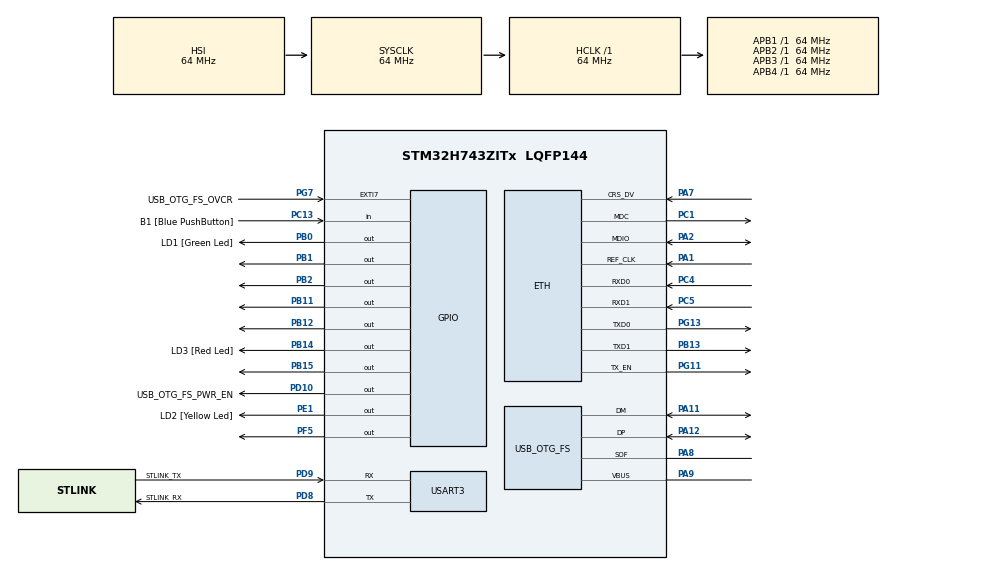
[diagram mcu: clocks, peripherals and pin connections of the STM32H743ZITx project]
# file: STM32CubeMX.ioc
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Mcu.Family=STM32H7
NVIC.USART3_IRQn=true\:0\:0\:false\:false\:true\:true\:true
Dma.USART3_RX.0.Polarity=HAL_DMAMUX_REQ_GEN_RISING
Dma.USART3_RX.0.PeriphInc=DMA_PINC_DISABLE
RCC.CortexFreq_Value=64000000
PH0-OSC_IN\ (PH0).Signal=RCC_OSC_IN
PB14.GPIO_Label=LD3 [Red Led]
PC15-OSC32_OUT\ (OSC32_OUT).Mode=LSE-External-Oscillator
RCC.PLLFRACN=0
PA11.Mode=Device_Only
PB0.GPIO_Label=LD1 [Green Led]
PC5.Mode=RMII
PC13.GPIO_Label=B1 [Blue PushButton]
PB11.Signal=GPIO_Output
PB13.Signal=ETH_TXD1
PB15.Signal=GPIO_Output
PG13.Signal=ETH_TXD0
PD9.Mode=Asynchronous
PG11.Signal=ETH_TX_EN
ProjectManager.StackSize=0x400
USART3.VirtualMode-Asynchronous=VM_ASYNC
PA12.Signal=USB_OTG_FS_DP
RCC.HCLKFreq_Value=64000000
PD8.Signal=USART3_TX
PE1.Signal=GPIO_Output
RCC.HSE_VALUE=8000000
Dma.USART3_RX.0.MemDataAlignment=DMA_MDATAALIGN_BYTE
PB2.Signal=GPIO_Output
RCC.DIVM1=1
Dma.USART3_RX.0.SyncSignalID=NONE
Dma.USART3_RX.0.PeriphDataAlignment=DMA_PDATAALIGN_BYTE
Dma.USART3_RX.0.FIFOMode=DMA_FIFOMODE_DISABLE
PA8.Signal=USB_OTG_FS_SOF
PG13.Mode=RMII
RCC.APB3Freq_Value=64000000
Dma.USART3_RX.0.Direction=DMA_PERIPH_TO_MEMORY
Mcu.Package=LQFP144
PB1.Signal=GPIO_Output
USB_OTG_FS.VirtualMode=Device_Only
Dma.USART3_RX.0.SyncPolarity=HAL_DMAMUX_SYNC_NO_EVENT
Dma.USART3_RX.0.MemInc=DMA_MINC_ENABLE
PF5.Signal=GPIO_Output
PC14-OSC32_IN\ (OSC32_IN).Mode=LSE-External-Oscillator
RCC.APB4Freq_Value=64000000
NVIC.DMA1_Stream0_IRQn=true\:0\:0\:false\:false\:true\:false\:true
PC5.Signal=ETH_RXD1
PB13.Mode=RMII
Dma.Request0=USART3_RX
PH0-OSC_IN\ (PH0).Mode=HSE-External-Clock-Source
PC4.Mode=RMII
Dma.USART3_RX.0.Instance=DMA1_Stream0
RCC.DIVQ1=4
PA7.Mode=RMII
PG7.Signal=GPXTI7
PD9.GPIO_Label=STLINK_TX
Dma.USART3_RX.0.SyncRequestNumber=1
PC13.Signal=GPIO_Input
PC4.Signal=ETH_RXD0
PD9.Signal=USART3_RX
PH1-OSC_OUT\ (PH1).Signal=RCC_OSC_OUT
Dma.USART3_RX.0.Mode=DMA_CIRCULAR
PD8.GPIO_Label=STLINK_RX
PD10.Signal=GPIO_Output
PA9.Mode=Activate_VBUS
ProjectManager.TargetToolchain=SW4STM32
PC15-OSC32_OUT\ (OSC32_OUT).Signal=RCC_OSC32_OUT
PA9.Signal=USB_OTG_FS_VBUS
Dma.USART3_RX.0.EventEnable=DISABLE
RCC.DIVN1=24
Dma.USART3_RX.0.SyncEnable=DISABLE
RCC.USBFreq_Value=48000000
PD10.GPIO_Label=USB_OTG_FS_PWR_EN
PD8.Mode=Asynchronous
PA1.Signal=ETH_REF_CLK
PB14.Signal=GPIO_Output
board=NUCLEO-H743ZI2
PE1.GPIO_Label=LD2 [Yellow Led]
RCC.APB2Freq_Value=64000000
PA1.Mode=RMII
PG7.GPIO_Label=USB_OTG_FS_OVCR
RCC.ADCFreq_Value=16125000
Mcu.Name=STM32H743ZITx
PA2.Signal=ETH_MDIO
Dma.USART3_RX.0.RequestNumber=1
RCC.SYSCLKFreq_VALUE=64000000
Dma.USART3_RX.0.Priority=DMA_PRIORITY_HIGH
ETH.MediaInterface=HAL_ETH_RMII_MODE
PA12.Mode=Device_Only
PC14-OSC32_IN\ (OSC32_IN).Signal=RCC_OSC32_IN
PG11.Mode=RMII
PA11.Signal=USB_OTG_FS_DM
ProjectManager.HeapSize=0x200
Dma.USART3_RX.0.SignalID=NONE
NVIC.PriorityGroup=NVIC_PRIORITYGROUP_4
PA2.Mode=RMII
PA8.Mode=Activate_SOF_FS
RCC.APB1Freq_Value=64000000
PB0.Signal=GPIO_Output
PC1.Signal=ETH_MDC
PB12.Signal=GPIO_Output
PC1.Mode=RMII
PA7.Signal=ETH_CRS_DV

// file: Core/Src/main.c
/* USER CODE BEGIN Header */
/**
  ******************************************************************************
  * @file           : main.c
  * @brief          : Main program body
  ******************************************************************************
  * @attention
  *
  * <h2><center>&copy; Copyright (c) 2020 STMicroelectronics.
  * All rights reserved.</center></h2>
  *
  * This software component is licensed by ST under BSD 3-Clause license,
  * the "License"; You may not use this file except in compliance with the
  * License. You may obtain a copy of the License at:
  *                        opensource.org/licenses/BSD-3-Clause
  *
  ******************************************************************************
  */
/* USER CODE END Header */
#include "main.h"
#include "string.h"

/* USER CODE BEGIN Includes */
#include "feedforward.h"
#include "service.h"
#include "test.h"
#include "stdbool.h"
#include "otsu.h"
/* USER CODE END Includes */

#if defined ( __ICCARM__ ) /*!< IAR Compiler */

#pragma location=0x30040000
ETH_DMADescTypeDef  DMARxDscrTab[ETH_RX_DESC_CNT]; /* Ethernet Rx DMA Descriptors */
#pragma location=0x30040060
ETH_DMADescTypeDef  DMATxDscrTab[ETH_TX_DESC_CNT]; /* Ethernet Tx DMA Descriptors */
#pragma location=0x30040200
uint8_t Rx_Buff[ETH_RX_DESC_CNT][ETH_MAX_PACKET_SIZE]; /* Ethernet Receive Buffers */

#elif defined ( __CC_ARM )  /* MDK ARM Compiler */

__attribute__((at(0x30040000))) ETH_DMADescTypeDef  DMARxDscrTab[ETH_RX_DESC_CNT]; /* Ethernet Rx DMA Descriptors */
__attribute__((at(0x30040060))) ETH_DMADescTypeDef  DMATxDscrTab[ETH_TX_DESC_CNT]; /* Ethernet Tx DMA Descriptors */
__attribute__((at(0x30040200))) uint8_t Rx_Buff[ETH_RX_DESC_CNT][ETH_MAX_PACKET_SIZE]; /* Ethernet Receive Buffer */

#elif defined ( __GNUC__ ) /* GNU Compiler */

ETH_DMADescTypeDef DMARxDscrTab[ETH_RX_DESC_CNT] __attribute__((section(".RxDecripSection"))); /* Ethernet Rx DMA Descriptors */
ETH_DMADescTypeDef DMATxDscrTab[ETH_TX_DESC_CNT] __attribute__((section(".TxDecripSection")));   /* Ethernet Tx DMA Descriptors */
uint8_t Rx_Buff[ETH_RX_DESC_CNT][ETH_MAX_PACKET_SIZE] __attribute__((section(".RxArraySection"))); /* Ethernet Receive Buffers */

#endif

ETH_TxPacketConfig TxConfig;

ETH_HandleTypeDef heth;

UART_HandleTypeDef huart3;
DMA_HandleTypeDef hdma_usart3_rx;

PCD_HandleTypeDef hpcd_USB_OTG_FS;

/* USER CODE BEGIN PV */
#define IMAGE_SIZE 784
uint8_t Received[3];
double image[IMAGE_SIZE];
volatile bool done = false;
volatile bool is_otsu;
/* USER CODE END PV */

void SystemClock_Config(void);
static void MX_GPIO_Init(void);
static void MX_DMA_Init(void);
static void MX_ETH_Init(void);
static void MX_USART3_UART_Init(void);
static void MX_USB_OTG_FS_PCD_Init(void);

int main(void)
{

  /* MCU Configuration--------------------------------------------------------*/

  /* Reset of all peripherals, Initializes the Flash interface and the Systick. */
  HAL_Init();

  /* Configure the system clock */
  SystemClock_Config();

  /* Initialize all configured peripherals */
  MX_GPIO_Init();
  MX_DMA_Init();
  MX_ETH_Init();
  MX_USART3_UART_Init();
  MX_USB_OTG_FS_PCD_Init();
  /* USER CODE BEGIN 2 */
  test();
  	double y[10] = {0};
  	double z[10] = {0};
    // DMA does not work!!!!
  //  https://community.st.com/s/article/FAQ-DMA-is-not-working-on-STM32H7-devices
    HAL_UART_Receive_IT(&huart3, Received, 3);
  /* USER CODE END 2 */

  /* Infinite loop */
  /* USER CODE BEGIN WHILE */
  while (1)
  {
	  if(done) {
		  if(is_otsu) {
			  otsu(image, IMAGE_SIZE);
		  }

		  for(int i = 0; i < IMAGE_SIZE; i++) {
			  image[i] = image[i] / 255.0;
		  }

		  think(image, y, z);

		  display_digit(max_idx(y));

		  done = false;
	  }

    /* USER CODE END WHILE */

  }
}

void SystemClock_Config(void)
{
  RCC_OscInitTypeDef RCC_OscInitStruct = {0};
  RCC_ClkInitTypeDef RCC_ClkInitStruct = {0};
  RCC_PeriphCLKInitTypeDef PeriphClkInitStruct = {0};

  /** Supply configuration update enable
  */
  HAL_PWREx_ConfigSupply(PWR_LDO_SUPPLY);
  /** Configure the main internal regulator output voltage
  */
  __HAL_PWR_VOLTAGESCALING_CONFIG(PWR_REGULATOR_VOLTAGE_SCALE3);

  while(!__HAL_PWR_GET_FLAG(PWR_FLAG_VOSRDY)) {}
  /** Initializes the RCC Oscillators according to the specified parameters
  * in the RCC_OscInitTypeDef structure.
  */
  RCC_OscInitStruct.OscillatorType = RCC_OSCILLATORTYPE_HSI|RCC_OSCILLATORTYPE_HSE;
  RCC_OscInitStruct.HSEState = RCC_HSE_BYPASS;
  RCC_OscInitStruct.HSIState = RCC_HSI_DIV1;
  RCC_OscInitStruct.HSICalibrationValue = RCC_HSICALIBRATION_DEFAULT;
  RCC_OscInitStruct.PLL.PLLState = RCC_PLL_ON;
  RCC_OscInitStruct.PLL.PLLSource = RCC_PLLSOURCE_HSE;
  RCC_OscInitStruct.PLL.PLLM = 1;
  RCC_OscInitStruct.PLL.PLLN = 24;
  RCC_OscInitStruct.PLL.PLLP = 2;
  RCC_OscInitStruct.PLL.PLLQ = 4;
  RCC_OscInitStruct.PLL.PLLR = 2;
  RCC_OscInitStruct.PLL.PLLRGE = RCC_PLL1VCIRANGE_3;
  RCC_OscInitStruct.PLL.PLLVCOSEL = RCC_PLL1VCOWIDE;
  RCC_OscInitStruct.PLL.PLLFRACN = 0;
  if (HAL_RCC_OscConfig(&RCC_OscInitStruct) != HAL_OK)
  {
    Error_Handler();
  }
  /** Initializes the CPU, AHB and APB buses clocks
  */
  RCC_ClkInitStruct.ClockType = RCC_CLOCKTYPE_HCLK|RCC_CLOCKTYPE_SYSCLK
                              |RCC_CLOCKTYPE_PCLK1|RCC_CLOCKTYPE_PCLK2
                              |RCC_CLOCKTYPE_D3PCLK1|RCC_CLOCKTYPE_D1PCLK1;
  RCC_ClkInitStruct.SYSCLKSource = RCC_SYSCLKSOURCE_HSI;
  RCC_ClkInitStruct.SYSCLKDivider = RCC_SYSCLK_DIV1;
  RCC_ClkInitStruct.AHBCLKDivider = RCC_HCLK_DIV1;
  RCC_ClkInitStruct.APB3CLKDivider = RCC_APB3_DIV1;
  RCC_ClkInitStruct.APB1CLKDivider = RCC_APB1_DIV1;
  RCC_ClkInitStruct.APB2CLKDivider = RCC_APB2_DIV1;
  RCC_ClkInitStruct.APB4CLKDivider = RCC_APB4_DIV1;

  if (HAL_RCC_ClockConfig(&RCC_ClkInitStruct, FLASH_LATENCY_0) != HAL_OK)
  {
    Error_Handler();
  }
  PeriphClkInitStruct.PeriphClockSelection = RCC_PERIPHCLK_USART3|RCC_PERIPHCLK_USB;
  PeriphClkInitStruct.Usart234578ClockSelection = RCC_USART234578CLKSOURCE_D2PCLK1;
  PeriphClkInitStruct.UsbClockSelection = RCC_USBCLKSOURCE_PLL;
  if (HAL_RCCEx_PeriphCLKConfig(&PeriphClkInitStruct) != HAL_OK)
  {
    Error_Handler();
  }
  /** Enable USB Voltage detector
  */
  HAL_PWREx_EnableUSBVoltageDetector();
}

static void MX_ETH_Init(void)
{

  heth.Instance = ETH;
  heth.Init.MACAddr[0] =   0x00;
  heth.Init.MACAddr[1] =   0x80;
  heth.Init.MACAddr[2] =   0xE1;
  heth.Init.MACAddr[3] =   0x00;
  heth.Init.MACAddr[4] =   0x00;
  heth.Init.MACAddr[5] =   0x00;
  heth.Init.MediaInterface = HAL_ETH_RMII_MODE;
  heth.Init.TxDesc = DMATxDscrTab;
  heth.Init.RxDesc = DMARxDscrTab;
  heth.Init.RxBuffLen = 1524;

  if (HAL_ETH_Init(&heth) != HAL_OK)
  {
    Error_Handler();
  }

  memset(&TxConfig, 0 , sizeof(ETH_TxPacketConfig));
  TxConfig.Attributes = ETH_TX_PACKETS_FEATURES_CSUM | ETH_TX_PACKETS_FEATURES_CRCPAD;
  TxConfig.ChecksumCtrl = ETH_CHECKSUM_IPHDR_PAYLOAD_INSERT_PHDR_CALC;
  TxConfig.CRCPadCtrl = ETH_CRC_PAD_INSERT;

}

static void MX_USART3_UART_Init(void)
{

  huart3.Instance = USART3;
  huart3.Init.BaudRate = 115200;
  huart3.Init.WordLength = UART_WORDLENGTH_8B;
  huart3.Init.StopBits = UART_STOPBITS_1;
  huart3.Init.Parity = UART_PARITY_NONE;
  huart3.Init.Mode = UART_MODE_TX_RX;
  huart3.Init.HwFlowCtl = UART_HWCONTROL_NONE;
  huart3.Init.OverSampling = UART_OVERSAMPLING_16;
  huart3.Init.OneBitSampling = UART_ONE_BIT_SAMPLE_DISABLE;
  huart3.Init.ClockPrescaler = UART_PRESCALER_DIV1;
  huart3.AdvancedInit.AdvFeatureInit = UART_ADVFEATURE_NO_INIT;
  if (HAL_UART_Init(&huart3) != HAL_OK)
  {
    Error_Handler();
  }
  if (HAL_UARTEx_SetTxFifoThreshold(&huart3, UART_TXFIFO_THRESHOLD_1_8) != HAL_OK)
  {
    Error_Handler();
  }
  if (HAL_UARTEx_SetRxFifoThreshold(&huart3, UART_RXFIFO_THRESHOLD_1_8) != HAL_OK)
  {
    Error_Handler();
  }
  if (HAL_UARTEx_DisableFifoMode(&huart3) != HAL_OK)
  {
    Error_Handler();
  }

}

static void MX_USB_OTG_FS_PCD_Init(void)
{

  hpcd_USB_OTG_FS.Instance = USB_OTG_FS;
  hpcd_USB_OTG_FS.Init.dev_endpoints = 9;
  hpcd_USB_OTG_FS.Init.speed = PCD_SPEED_FULL;
  hpcd_USB_OTG_FS.Init.dma_enable = DISABLE;
  hpcd_USB_OTG_FS.Init.phy_itface = PCD_PHY_EMBEDDED;
  hpcd_USB_OTG_FS.Init.Sof_enable = ENABLE;
  hpcd_USB_OTG_FS.Init.low_power_enable = DISABLE;
  hpcd_USB_OTG_FS.Init.lpm_enable = DISABLE;
  hpcd_USB_OTG_FS.Init.battery_charging_enable = ENABLE;
  hpcd_USB_OTG_FS.Init.vbus_sensing_enable = ENABLE;
  hpcd_USB_OTG_FS.Init.use_dedicated_ep1 = DISABLE;
  if (HAL_PCD_Init(&hpcd_USB_OTG_FS) != HAL_OK)
  {
    Error_Handler();
  }

}

static void MX_DMA_Init(void)
{

  /* DMA controller clock enable */
  __HAL_RCC_DMA1_CLK_ENABLE();

  /* DMA interrupt init */
  /* DMA1_Stream0_IRQn interrupt configuration */
  HAL_NVIC_SetPriority(DMA1_Stream0_IRQn, 0, 0);
  HAL_NVIC_EnableIRQ(DMA1_Stream0_IRQn);

}

static void MX_GPIO_Init(void)
{
  GPIO_InitTypeDef GPIO_InitStruct = {0};

  /* GPIO Ports Clock Enable */
  __HAL_RCC_GPIOC_CLK_ENABLE();
  __HAL_RCC_GPIOF_CLK_ENABLE();
  __HAL_RCC_GPIOH_CLK_ENABLE();
  __HAL_RCC_GPIOA_CLK_ENABLE();
  __HAL_RCC_GPIOB_CLK_ENABLE();
  __HAL_RCC_GPIOD_CLK_ENABLE();
  __HAL_RCC_GPIOG_CLK_ENABLE();
  __HAL_RCC_GPIOE_CLK_ENABLE();

  /*Configure GPIO pin Output Level */
  HAL_GPIO_WritePin(GPIOF, GPIO_PIN_5, GPIO_PIN_RESET);

  /*Configure GPIO pin Output Level */
  HAL_GPIO_WritePin(GPIOB, LD1_Pin|GPIO_PIN_1|GPIO_PIN_2|GPIO_PIN_11
                          |GPIO_PIN_12|LD3_Pin|GPIO_PIN_15, GPIO_PIN_RESET);

  /*Configure GPIO pin Output Level */
  HAL_GPIO_WritePin(USB_OTG_FS_PWR_EN_GPIO_Port, USB_OTG_FS_PWR_EN_Pin, GPIO_PIN_RESET);

  /*Configure GPIO pin Output Level */
  HAL_GPIO_WritePin(LD2_GPIO_Port, LD2_Pin, GPIO_PIN_RESET);

  /*Configure GPIO pin : PC13 */
  GPIO_InitStruct.Pin = GPIO_PIN_13;
  GPIO_InitStruct.Mode = GPIO_MODE_IT_RISING;
  GPIO_InitStruct.Pull = GPIO_NOPULL;
  HAL_GPIO_Init(GPIOC, &GPIO_InitStruct);

  /*Configure GPIO pin : PF5 */
  GPIO_InitStruct.Pin = GPIO_PIN_5;
  GPIO_InitStruct.Mode = GPIO_MODE_OUTPUT_PP;
  GPIO_InitStruct.Pull = GPIO_NOPULL;
  GPIO_InitStruct.Speed = GPIO_SPEED_FREQ_LOW;
  HAL_GPIO_Init(GPIOF, &GPIO_InitStruct);

  /*Configure GPIO pins : LD1_Pin PB1 PB2 PB11
                           PB12 LD3_Pin PB15 */
  GPIO_InitStruct.Pin = LD1_Pin|GPIO_PIN_1|GPIO_PIN_2|GPIO_PIN_11
                          |GPIO_PIN_12|LD3_Pin|GPIO_PIN_15;
  GPIO_InitStruct.Mode = GPIO_MODE_OUTPUT_PP;
  GPIO_InitStruct.Pull = GPIO_NOPULL;
  GPIO_InitStruct.Speed = GPIO_SPEED_FREQ_LOW;
  HAL_GPIO_Init(GPIOB, &GPIO_InitStruct);

  /*Configure GPIO pin : USB_OTG_FS_PWR_EN_Pin */
  GPIO_InitStruct.Pin = USB_OTG_FS_PWR_EN_Pin;
  GPIO_InitStruct.Mode = GPIO_MODE_OUTPUT_PP;
  GPIO_InitStruct.Pull = GPIO_NOPULL;
  GPIO_InitStruct.Speed = GPIO_SPEED_FREQ_LOW;
  HAL_GPIO_Init(USB_OTG_FS_PWR_EN_GPIO_Port, &GPIO_InitStruct);

  /*Configure GPIO pin : USB_OTG_FS_OVCR_Pin */
  GPIO_InitStruct.Pin = USB_OTG_FS_OVCR_Pin;
  GPIO_InitStruct.Mode = GPIO_MODE_IT_RISING;
  GPIO_InitStruct.Pull = GPIO_NOPULL;
  HAL_GPIO_Init(USB_OTG_FS_OVCR_GPIO_Port, &GPIO_InitStruct);

  /*Configure GPIO pin : LD2_Pin */
  GPIO_InitStruct.Pin = LD2_Pin;
  GPIO_InitStruct.Mode = GPIO_MODE_OUTPUT_PP;
  GPIO_InitStruct.Pull = GPIO_NOPULL;
  GPIO_InitStruct.Speed = GPIO_SPEED_FREQ_LOW;
  HAL_GPIO_Init(LD2_GPIO_Port, &GPIO_InitStruct);

  /* EXTI interrupt init*/
  HAL_NVIC_SetPriority(EXTI15_10_IRQn, 0, 0);
  HAL_NVIC_EnableIRQ(EXTI15_10_IRQn);

}

void Error_Handler(void)
{
}

/************************ (C) COPYRIGHT STMicroelectronics *****END OF FILE****/
